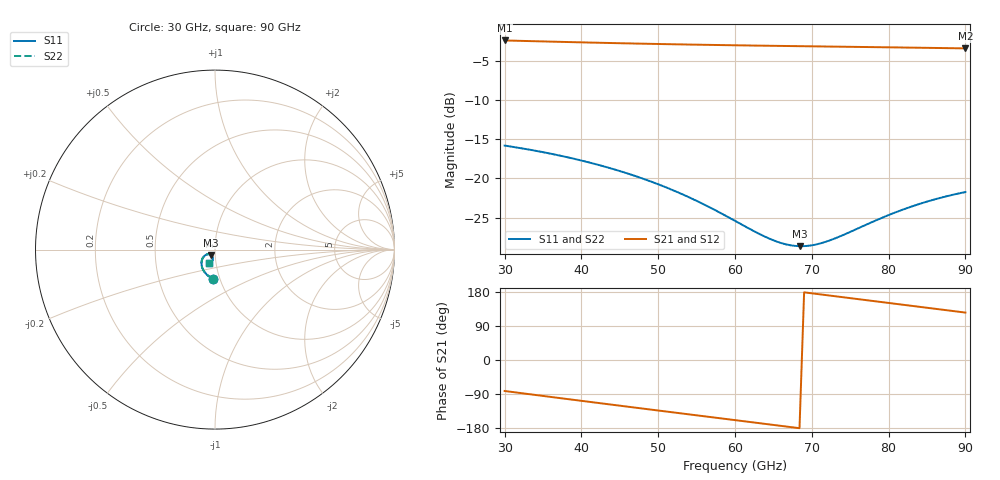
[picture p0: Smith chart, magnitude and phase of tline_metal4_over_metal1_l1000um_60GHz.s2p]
#  GHZ S DB R 50
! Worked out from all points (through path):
!   101 points, 30 GHz to 90 GHz, reference 50 ohm
!   highest |S21| = -2.44 dB at 30 GHz (marker M1); lowest = -3.4 dB at 90 GHz (marker M2)
!   group delay of S21, straight-line fit = 7.07 ps
!   lowest |S11| = -28.6 dB at 68.4 GHz (marker M3), VSWR 1.08, Z = 47.8 - j2.85 ohm
!   |S11| at or under -10 dB: start of sweep to end of sweep
!   |S22| runs from -28.6 to -15.8 dB; largest |S21 - S12| = 8.6e-14
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30  -15.82 -93.7  -2.44 -81.8  -2.44 -81.8  -15.80 -93.8
32.4  -16.20 -100.5  -2.50 -88.0  -2.50 -88.0  -16.18 -100.6
34.8  -16.62 -107.1  -2.56 -94.3  -2.56 -94.3  -16.60 -107.2
37.2  -17.10 -113.5  -2.61 -100.5  -2.61 -100.5  -17.08 -113.6
40.2  -17.77 -121.1  -2.68 -108.2  -2.68 -108.2  -17.75 -121.2
45  -19.06 -132.3  -2.79 -120.5  -2.79 -120.5  -19.04 -132.3
47.4  -19.82 -137.2  -2.84 -126.7  -2.84 -126.7  -19.80 -137.3
50.4  -20.90 -142.7  -2.89 -134.3  -2.89 -134.3  -20.88 -142.7
55.2  -22.95 -148.8  -2.98 -146.5  -2.98 -146.5  -22.93 -148.9
57.6  -24.14 -150.1  -3.02 -152.6  -3.02 -152.6  -24.12 -150.1
60  -25.40 -149.5  -3.05 -158.6  -3.05 -158.6  -25.40 -149.5
63  -26.98 -145.2  -3.09 -166.2  -3.09 -166.2  -26.99 -145.2
64.8  -27.80 -140.4  -3.12 -170.8  -3.12 -170.8  -27.82 -140.2
66.6  -28.39 -133.9  -3.14 -175.4  -3.14 -175.4  -28.41 -133.6
68.4  -28.63 -126.5  -3.16 -179.9  -3.16 -179.9  -28.64 -126.1
70.2  -28.48 -119.1  -3.19 175.5  -3.19 175.5  -28.49 -118.6
72  -28.01 -112.8  -3.21 170.9  -3.21 170.9  -28.00 -112.2
75  -26.81 -105.9  -3.25 163.3  -3.25 163.3  -26.78 -105.3
77.4  -25.75 -103.5  -3.28 157.2  -3.28 157.2  -25.71 -102.9
80.4  -24.52 -103.4  -3.32 149.5  -3.32 149.5  -24.45 -102.7
85.2  -22.90 -107.2  -3.38 137.3  -3.38 137.3  -22.82 -106.6
90  -21.74 -113.8  -3.45 125.1  -3.45 125.1  -21.65 -113.2
